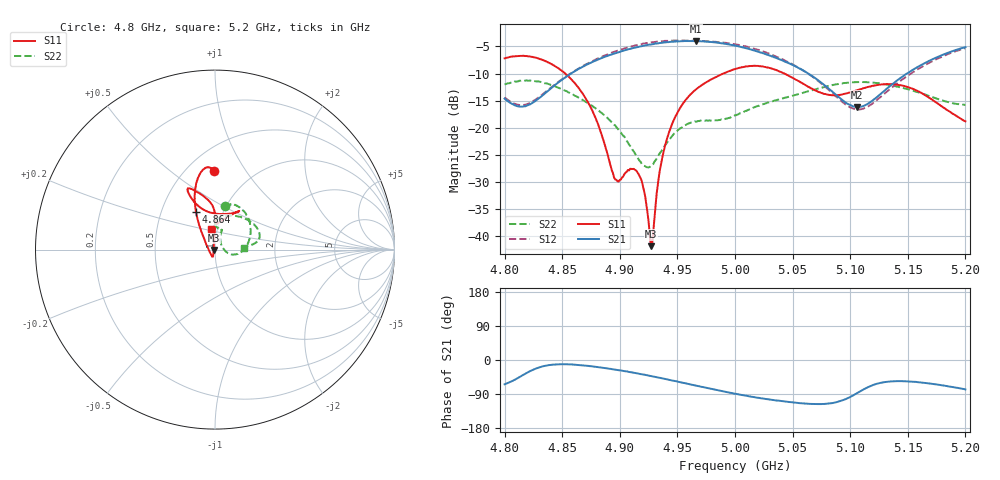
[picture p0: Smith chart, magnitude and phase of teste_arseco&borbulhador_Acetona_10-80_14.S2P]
! Network Analyzer HP8722D
! Hewlett-Packard
! Data name: Linha & Wilkinson
! Saver's name: Rodrigo Anjos
! Comments: Teste da utilização de aquisição
! continua pelo VNA HP8722D
! Time and date: 25/4/2025 15:23
!  Frequency  S11  S21  S12  S22
# HZ  S  MA R 50
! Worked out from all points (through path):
!   401 points, 4.8 GHz to 5.2 GHz, reference 50 ohm
!   highest |S21| = -4.00 dB at 4.966 GHz (marker M1); lowest = -16.2 dB at 5.106 GHz (marker M2)
!   lowest |S11| = -41.8 dB at 4.927 GHz (marker M3), VSWR 1.02, Z = 49.2 - j0.171 ohm
!   |S11| at or under -10 dB: 4.853 GHz to 4.99 GHz (137.3 MHz wide, 2.79 % of centre); 5.043 GHz to end of sweep
!   |S22| runs from -27.3 to -11.2 dB; largest |S21 - S12| = 1.2
!   S11 on the Smith chart (normalised r, x): 4.8 GHz: 0.67, +0.73; 4.864 GHz: 0.74, +0.33; 5.2 GHz: 0.93, +0.21
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4.8e9  0.4364 90.8  0.1859 -64.0  0.1906 69.5  0.2502 77.0
4.82e9  0.456 97.1  0.161 -32.6  0.1663 98.1  0.2721 61.6
4.864e9  0.2355 116.8  0.3481 -13.0  0.3505 120.9  0.1906 12.3
4.867e9  0.2123 118.4  0.3616 -13.8  0.3654 120.7  0.1832 9.0
4.88e9  0.1155 128.4  0.421 -18.3  0.4315 118.3  0.1488 -4.6
4.897e9  0.03321 -165.3  0.4887 -25.8  0.5103 112.9  0.1017 -15.7
4.91e9  0.04186 -109.7  0.5383 -32.5  0.5613 107.0  0.06583 -12.1
4.917e9  0.03621 -106.3  0.56 -36.4  0.5863 103.5  0.05005 0.6
4.921e9  0.02636 -111.0  0.572 -38.5  0.5977 101.3  0.04473 13.3
4.927e9  0.00814 -167.7  0.5845 -42.3  0.6133 97.5  0.045 37.5
4.929e9  0.01096 134.5  0.5901 -43.6  0.6167 96.5  0.04637 44.3
4.934e9  0.03602 99.7  0.6021 -46.8  0.6262 93.3  0.05674 57.5
4.939e9  0.06688 93.3  0.612 -49.7  0.6328 90.0  0.06806 64.8
4.946e9  0.1125 90.1  0.6209 -54.4  0.6348 85.7  0.08559 68.9
4.966e9  0.2255 91.6  0.6313 -67.4  0.634 72.8  0.1143 70.8
5e9  0.3481 109.0  0.5714 -89.1  0.5893 50.8  0.1305 87.9
5.031e9  0.3536 115.0  0.4606 -104.7  0.4774 33.3  0.1741 84.5
5.067e9  0.2292 105.3  0.3004 -116.0  0.2978 23.5  0.2221 57.2
5.106e9  0.222 65.4  0.1557 -87.3  0.1475 55.7  0.2633 24.8
5.134e9  0.2529 58.0  0.2401 -56.8  0.2253 88.6  0.2486 12.4
5.169e9  0.1884 70.6  0.4166 -62.1  0.3994 84.7  0.1956 7.0
5.2e9  0.115 100.6  0.5534 -77.7  0.5406 70.1  0.1628 3.8
